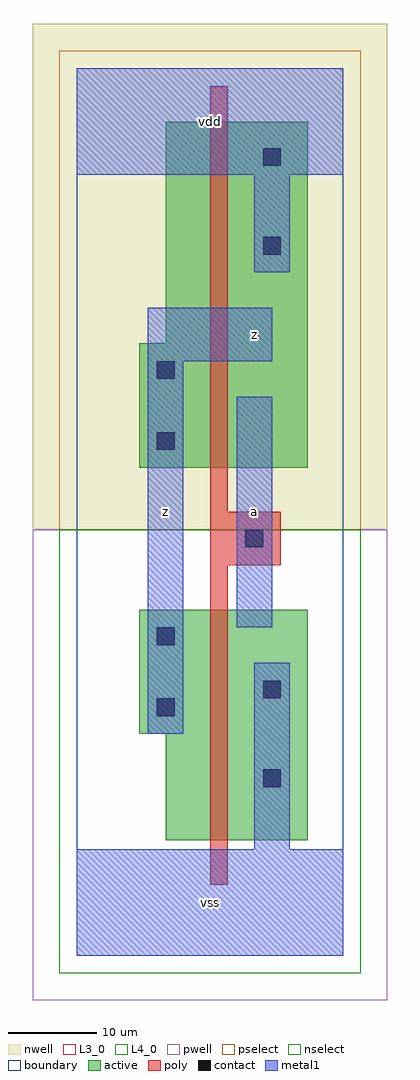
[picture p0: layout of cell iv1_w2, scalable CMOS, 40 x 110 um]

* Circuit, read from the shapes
.subckt iv1_w2 a vdd vss z
M1 vss a z VSUBS nfet w=26u l=2u
M2 vdd a z n1 pfet w=39u l=2u
.ends

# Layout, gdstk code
import gdstk
lib = gdstk.Library(unit=1e-6, precision=1e-09)
def R(c, l, rs):  # rectangles x0, y0, x1, y1
    for r in rs: c.add(gdstk.rectangle(r[:2], r[2:], *l))
L3_0 = (3, 0)
L4_0 = (4, 0)
contact = (25, 0)
pwell = (41, 0)
nwell = (42, 0)
active = (43, 0)
pselect = (44, 0)
nselect = (45, 0)
poly = (46, 0)
metal1 = (49, 0)
boundary = (63, 0)

iv1_w2 = lib.new_cell('iv1_w2')
R(iv1_w2, L3_0, [(10,13,26,25), (7,25,26,39)])
R(iv1_w2, L4_0, [(7,55,26,69), (10,69,26,94)])
R(iv1_w2, contact, [(21,19,23,21), (9,27,11,29), (21,29,23,31), (9,35,11,37), (19,46,21,48), (9,57,11,59), (9,65,11,67), (21,79,23,81), (21,89,23,91)])
R(iv1_w2, pwell, [(-5,-5,35,48)])
R(iv1_w2, nwell, [(-5,48,35,105)])
R(iv1_w2, active, [(10,13,26,25), (7,25,26,39), (7,55,26,69), (10,69,26,94)])
R(iv1_w2, pselect, [(-2,48,32,102)])
R(iv1_w2, nselect, [(-2,-2,32,48)])
R(iv1_w2, poly, [(15,8,17,44), (15,44,23,50), (15,50,17,98)])
R(iv1_w2, metal1, [(0,0,30,12), (20,12,24,33), (8,25,12,67), (18,37,22,63), (8,67,22,73), (20,77,24,88), (0,88,30,100)])
R(iv1_w2, boundary, [(0,0,30,100)])
iv1_w2.add(gdstk.Label('vss', (15,6), layer=49, texttype=0))
iv1_w2.add(gdstk.Label('z', (10,50), layer=49, texttype=0))
iv1_w2.add(gdstk.Label('vdd', (15,94), layer=49, texttype=0))
iv1_w2.add(gdstk.Label('a', (20,50), layer=49, texttype=0))
iv1_w2.add(gdstk.Label('z', (20,70), layer=49, texttype=0))

lib.write_gds('iv1_w2.gds')
